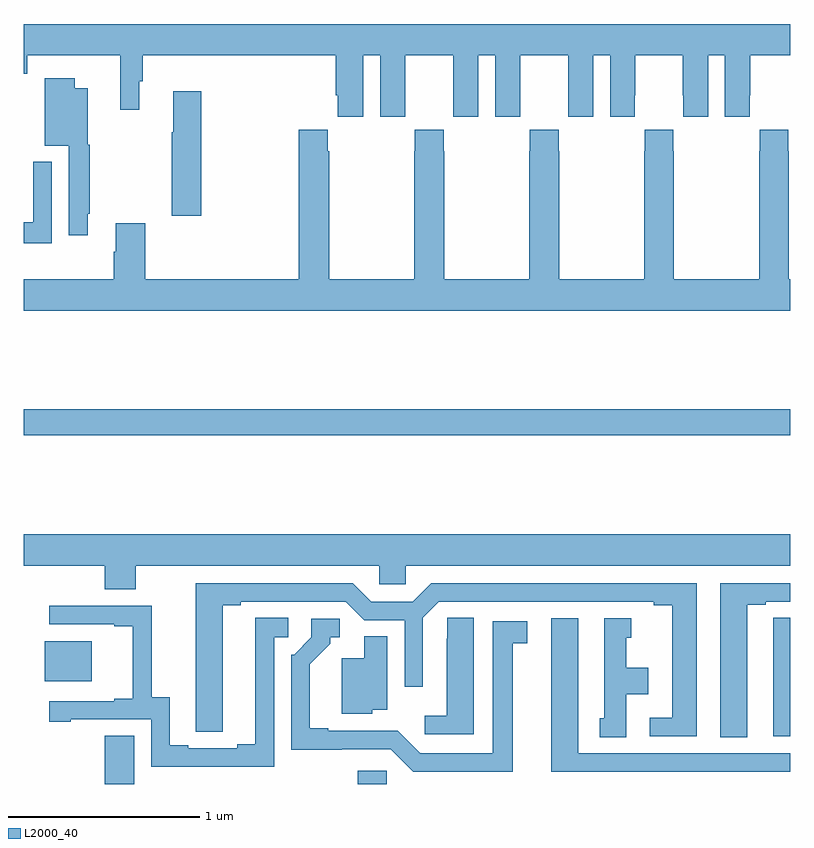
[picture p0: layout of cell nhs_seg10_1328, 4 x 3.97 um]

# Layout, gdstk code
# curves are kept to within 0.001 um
import gdstk
lib = gdstk.Library(unit=1e-6, precision=1e-09)
def R(c, l, rs):  # rectangles x0, y0, x1, y1
    for r in rs: c.add(gdstk.rectangle(r[:2], r[2:], *l))
def P(c, l, *ps):  # polygons
    for p in ps: c.add(gdstk.Polygon(p, *l))
L2000_40 = (2000, 40)

nhs_seg10_1328 = lib.new_cell('nhs_seg10_1328')
R(nhs_seg10_1328, L2000_40, [(179.423,1308.5,179.575,1308.752), (180.743,1308.5,180.894,1308.57), (179.108,1309.037,179.353,1309.246), (179,1310.32,183,1310.456)])
P(nhs_seg10_1328, L2000_40, [(180.772,1312.304),(180.86,1312.304),(180.86,1311.984),(180.99,1311.984),(180.99,1312.096),(180.991,1312.096),(180.991,1312.304),(181.241,1312.304),(181.241,1312.096),(181.242,1312.096),(181.242,1311.984),(181.372,1311.984),(181.372,1312.304),(181.46,1312.304),(181.46,1311.984),(181.59,1311.984),(181.59,1312.096),(181.591,1312.096),(181.591,1312.304),(181.841,1312.304),(181.841,1312.096),(181.842,1312.096),(181.842,1311.984),(181.972,1311.984),(181.972,1312.304),(182.06,1312.304),(182.06,1311.984),(182.19,1311.984),(182.19,1312.096),(182.191,1312.096),(182.191,1312.304),(182.441,1312.304),(182.441,1312.096),(182.442,1312.096),(182.442,1311.984),(182.572,1311.984),(182.572,1312.304),(182.66,1312.304),(182.66,1311.984),(182.79,1311.984),(182.79,1312.096),(182.791,1312.096),(182.791,1312.304),(183,1312.304),(183,1312.468),(179,1312.468),(179,1312.208),(179.018,1312.208),(179.018,1312.304),(179.503,1312.304),(179.503,1312.02),(179.602,1312.02),(179.602,1312.17),(179.621,1312.17),(179.621,1312.304),(180.629,1312.304),(180.629,1312.096),(180.638,1312.096),(180.638,1311.984),(180.772,1311.984)],
  [(179.332,1311.478),(179.344,1311.478),(179.344,1311.837),(179.332,1311.837),(179.332,1312.132),(179.266,1312.132),(179.266,1312.186),(179.108,1312.186),(179.108,1311.833),(179.235,1311.833),(179.235,1311.366),(179.332,1311.366)],
  [(179.927,1312.117),(179.78,1312.117),(179.78,1311.904),(179.773,1311.904),(179.773,1311.468),(179.927,1311.468)],
  [(183,1311.136),(182.994,1311.136),(182.994,1311.803),(182.991,1311.803),(182.991,1311.916),(182.841,1311.916),(182.841,1311.803),(182.839,1311.803),(182.839,1311.136),(182.394,1311.136),(182.394,1311.803),(182.391,1311.803),(182.391,1311.916),(182.241,1311.916),(182.241,1311.803),(182.239,1311.803),(182.239,1311.136),(181.794,1311.136),(181.794,1311.803),(181.791,1311.803),(181.791,1311.916),(181.641,1311.916),(181.641,1311.803),(181.639,1311.803),(181.639,1311.136),(181.194,1311.136),(181.194,1311.803),(181.191,1311.803),(181.191,1311.916),(181.041,1311.916),(181.041,1311.803),(181.039,1311.803),(181.039,1311.136),(180.594,1311.136),(180.594,1311.803),(180.587,1311.803),(180.587,1311.916),(180.434,1311.916),(180.434,1311.136),(179.633,1311.136),(179.633,1311.427),(179.48,1311.427),(179.48,1311.278),(179.468,1311.278),(179.468,1311.136),(179,1311.136),(179,1310.972),(183,1310.972)],
  [(179.145,1311.748),(179.048,1311.748),(179.048,1311.433),(179,1311.433),(179,1311.324),(179.145,1311.324)],
  [(179.583,1309.64),(180.855,1309.64),(180.855,1309.542),(180.993,1309.542),(180.993,1309.64),(183,1309.64),(183,1309.804),(179,1309.804),(179,1309.64),(179.423,1309.64),(179.423,1309.516),(179.583,1309.516)],
  [(182.512,1309.548),(181.127,1309.548),(181.031,1309.452),(180.813,1309.452),(180.717,1309.548),(179.897,1309.548),(179.898,1308.772),(180.037,1308.772),(180.037,1309.432),(180.133,1309.432),(180.133,1309.452),(180.681,1309.452),(180.777,1309.356),(180.987,1309.356),(180.987,1309.008),(181.083,1309.008),(181.083,1309.368),(181.167,1309.452),(182.288,1309.452),(182.288,1309.432),(182.384,1309.432),(182.384,1308.846),(182.268,1308.846),(182.268,1308.75),(182.512,1308.75)],
  [(182.776,1309.437),(182.872,1309.437),(182.872,1309.452),(183,1309.452),(183,1309.548),(182.636,1309.548),(182.636,1308.745),(182.776,1308.745)],
  [(180.306,1309.266),(180.379,1309.266),(180.379,1309.367),(180.209,1309.367),(180.209,1308.707),(180.113,1308.707),(180.113,1308.687),(179.857,1308.687),(179.857,1308.702),(179.761,1308.702),(179.761,1308.953),(179.667,1308.953),(179.667,1309.431),(179.133,1309.431),(179.133,1309.335),(179.471,1309.335),(179.471,1309.323),(179.567,1309.323),(179.567,1308.946),(179.471,1308.946),(179.471,1308.933),(179.133,1308.933),(179.133,1308.825),(179.245,1308.825),(179.245,1308.837),(179.664,1308.837),(179.664,1308.591),(180.306,1308.591)],
  [(181.348,1309.367),(181.209,1309.367),(181.209,1309.259),(181.208,1309.259),(181.208,1308.856),(181.092,1308.856),(181.092,1308.759),(181.348,1308.759)],
  [(183,1309.367),(182.913,1309.367),(182.913,1309.259),(182.912,1309.259),(182.912,1308.749),(183,1308.749)],
  [(182.146,1308.968),(182.26,1308.968),(182.26,1309.108),(182.146,1309.108),(182.146,1309.263),(182.17,1309.263),(182.17,1309.366),(182.03,1309.366),(182.03,1308.843),(182.006,1308.843),(182.006,1308.745),(182.146,1308.745)],
  [(183,1308.66),(181.894,1308.66),(181.894,1309.366),(181.754,1309.366),(181.754,1308.564),(183,1308.564)],
  [(181.552,1309.234),(181.627,1309.234),(181.627,1309.35),(181.448,1309.35),(181.448,1308.66),(181.068,1308.66),(180.951,1308.777),(180.589,1308.777),(180.589,1308.79),(180.493,1308.79),(180.493,1309.126),(180.598,1309.231),(180.598,1309.266),(180.649,1309.266),(180.649,1309.362),(180.501,1309.362),(180.501,1309.266),(180.411,1309.176),(180.396,1309.176),(180.396,1308.68),(180.915,1308.681),(181.032,1308.564),(181.552,1308.564)],
  [(180.819,1308.887),(180.898,1308.887),(180.898,1309.271),(180.776,1309.271),(180.776,1309.156),(180.659,1309.156),(180.659,1308.866),(180.819,1308.866)])

lib.write_gds('nhs_seg10_1328.gds')
